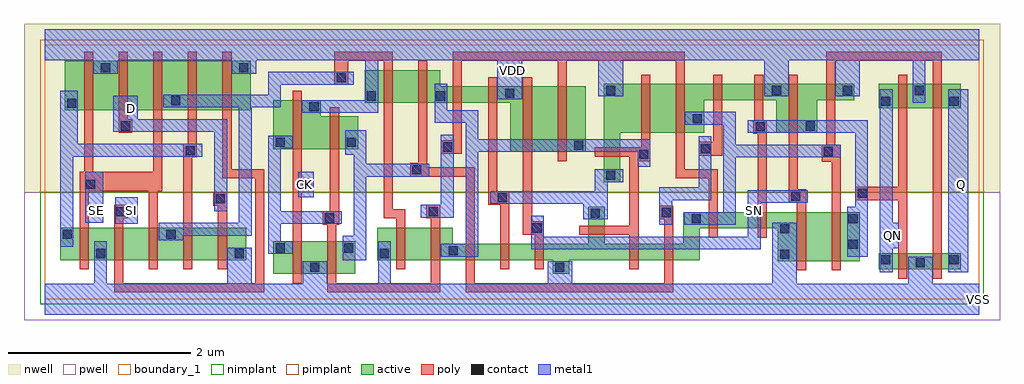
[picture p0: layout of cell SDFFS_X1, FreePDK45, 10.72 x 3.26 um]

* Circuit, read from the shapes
.subckt SDFFS_X1 CK D Q QN SE SI SN VDD VSS
M1 VSS SE n1 VSUBS nfet w=0.36u l=0.1u
M2 n2 SI VSS VSUBS nfet w=0.36u l=0.1u
M3 n3 SE n2 VSUBS nfet w=0.36u l=0.1u
M4 n4 n1 n3 VSUBS nfet w=0.36u l=0.1u
M5 VSS D n4 VSUBS nfet w=0.36u l=0.1u
M6 VSS CK n5 VSUBS nfet w=0.36u l=0.1u
M7 n6 n5 VSS VSUBS nfet w=0.36u l=0.1u
M8 n7 n3 VSS VSUBS nfet w=0.36u l=0.1u
M9 n8 n5 n7 VSUBS nfet w=0.36u l=0.1u
M10 n9 n6 n8 VSUBS nfet w=0.18u l=0.1u
M11 n10 n11 n9 VSUBS nfet w=0.18u l=0.1u
M12 VSS SN n10 VSUBS nfet w=0.18u l=0.1u
M13 n11 n8 VSS VSUBS nfet w=0.18u l=0.1u
M14 n12 n8 VSS VSUBS nfet w=0.18u l=0.1u
M15 n13 n6 n12 VSUBS nfet w=0.18u l=0.1u
M16 n14 n5 n13 VSUBS nfet w=0.18u l=0.1u
M17 VSS n15 n14 VSUBS nfet w=0.18u l=0.1u
M18 n16 SN VSS VSUBS nfet w=0.54u l=0.1u
M19 n15 n13 n16 VSUBS nfet w=0.54u l=0.1u
M20 VSS n15 QN VSUBS nfet w=0.18u l=0.1u
M21 Q n13 VSS VSUBS nfet w=0.18u l=0.1u
M22 VDD SE n1 n17 pfet w=0.54u l=0.1u
M23 n18 D VDD n17 pfet w=0.54u l=0.1u
M24 n3 SE n18 n17 pfet w=0.54u l=0.1u
M25 n19 n1 n3 n17 pfet w=0.54u l=0.1u
M26 VDD SI n19 n17 pfet w=0.54u l=0.1u
M27 VDD CK n5 n17 pfet w=0.54u l=0.1u
M28 n6 n5 VDD n17 pfet w=0.36u l=0.1u
M29 n20 n3 VDD n17 pfet w=0.36u l=0.1u
M30 n8 n6 n20 n17 pfet w=0.36u l=0.1u
M31 n21 n5 n8 n17 pfet w=0.18u l=0.1u
M32 VDD n11 n21 n17 pfet w=0.18u l=0.1u
M33 n22 SN VDD n17 pfet w=0.72u l=0.1u
M34 n8 n5 n22 n17 pfet w=0.72u l=0.1u
M35 VDD n8 n11 n17 pfet w=0.18u l=0.1u
M36 n23 n8 VDD n17 pfet w=0.54u l=0.1u
M37 n13 n5 n23 n17 pfet w=0.54u l=0.1u
M38 n24 n6 n13 n17 pfet w=0.18u l=0.1u
M39 VDD n15 n24 n17 pfet w=0.18u l=0.1u
M40 n15 SN VDD n17 pfet w=0.54u l=0.1u
M41 VDD n13 n15 n17 pfet w=0.18u l=0.1u
M42 VDD n15 QN n17 pfet w=0.27u l=0.1u
M43 Q n13 VDD n17 pfet w=0.27u l=0.1u
.ends

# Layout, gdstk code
import gdstk
lib = gdstk.Library(unit=1e-6, precision=1e-09)
def R(c, l, rs):  # rectangles x0, y0, x1, y1
    for r in rs: c.add(gdstk.rectangle(r[:2], r[2:], *l))
def P(c, l, *ps):  # polygons
    for p in ps: c.add(gdstk.Polygon(p, *l))
active = (1, 0)
pwell = (2, 0)
nwell = (3, 0)
nimplant = (4, 0)
pimplant = (5, 0)
poly = (9, 0)
contact = (10, 0)
metal1 = (11, 0)
boundary_1 = (235, 1)

sdffs_x1 = lib.new_cell('SDFFS_X1')
R(sdffs_x1, active, [(2.51,0.28,3.41,0.64), (9.16,0.33,10.06,0.51), (0.17,0.43,2.21,0.79), (0.22,2.08,2.26,2.62), (9.16,2.1,10.06,2.37)])
P(sdffs_x1, active, [(3.65,0.43),(5.58,0.43),(5.58,0.28),(5.76,0.28),(5.76,0.43),(7.19,0.43),(7.19,0.78),(8.05,0.78),(8.05,0.42),(8.95,0.42),(8.95,0.96),(7.01,0.96),(7.01,0.61),(6.15,0.61),(6.15,1.02),(5.97,1.02),(5.97,0.61),(4.48,0.61),(4.48,0.79),(3.65,0.79)],
  [(6.14,1.29),(6.32,1.29),(6.32,1.83),(7.24,1.83),(7.24,2.19),(8.03,2.19),(8.03,1.83),(8.48,1.83),(8.48,2.19),(8.89,2.19),(8.89,2.37),(6.14,2.37)],
  [(3.51,2.16),(5.11,2.16),(5.11,1.62),(5.94,1.62),(5.94,2.34),(4.34,2.34),(4.34,2.52),(3.51,2.52)],
  [(2.51,1.65),(3.44,1.65),(3.44,2.01),(3.03,2.01),(3.03,2.19),(2.51,2.19)])
R(sdffs_x1, pwell, [(-0.23,-0.23,10.49,1.18)])
R(sdffs_x1, nwell, [(-0.23,1.18,10.49,3.03)])
R(sdffs_x1, nimplant, [(-0.05,-0.05,10.31,1.18)])
R(sdffs_x1, pimplant, [(-0.05,1.18,10.31,2.85)])
P(sdffs_x1, poly, [(8.68,2.62),(9.75,2.62),(9.75,0.23),(9.85,0.23),(9.85,2.72),(8.58,2.72),(8.58,1.7),(8.53,1.7),(8.53,1.51),(8.64,1.51),(8.64,0.32),(8.74,0.32),(8.74,1.7),(8.68,1.7)],
  [(8.9,1.09),(9.37,1.09),(9.37,0.23),(9.47,0.23),(9.47,2.47),(9.37,2.47),(9.37,1.24),(8.9,1.24)],
  [(8.17,1.06),(8.26,1.06),(8.26,0.32),(8.36,0.32),(8.36,1.21),(8.27,1.21),(8.27,2.47),(8.17,2.47)],
  [(7.78,1.82),(7.83,1.82),(7.83,0.68),(7.93,0.68),(7.93,1.97),(7.89,1.97),(7.89,2.47),(7.79,2.47),(7.79,1.97),(7.78,1.97)],
  [(7.18,1.58),(7.44,1.58),(7.44,2.47),(7.34,2.47),(7.34,1.73),(7.18,1.73)],
  [(4.35,1.6),(4.58,1.6),(4.58,2.62),(5.63,2.62),(5.63,1.52),(5.73,1.52),(5.73,2.62),(6.93,2.62),(6.93,1.33),(7.29,1.33),(7.29,0.68),(7.39,0.68),(7.39,1.43),(7.03,1.43),(7.03,2.72),(4.48,2.72),(4.48,1.75),(4.35,1.75)],
  [(6.75,0.88),(6.8,0.88),(6.8,0.18),(4.72,0.18),(4.72,1.45),(4.2,1.45),(4.2,2.62),(4.1,2.62),(4.1,1.5),(4.01,1.5),(4.01,1.35),(4.62,1.35),(4.62,0.08),(6.9,0.08),(6.9,1.03),(6.75,1.03)],
  [(6.04,1.57),(6.42,1.57),(6.42,0.81),(5.87,0.81),(5.87,0.71),(6.42,0.71),(6.42,0.33),(6.52,0.33),(6.52,1.52),(6.65,1.52),(6.65,2.47),(6.55,2.47),(6.55,1.67),(6.04,1.67)],
  [(5.25,0.71),(5.38,0.71),(5.38,0.33),(5.48,0.33),(5.48,0.86),(5.35,0.86),(5.35,2.44),(5.25,2.44)],
  [(4.87,1.04),(5,1.04),(5,0.33),(5.1,0.33),(5.1,1.19),(4.97,1.19),(4.97,2.44),(4.87,2.44)],
  [(4.19,0.89),(4.24,0.89),(4.24,0.18),(3.2,0.18),(3.2,0.82),(3.23,0.82),(3.23,2.11),(3.13,2.11),(3.13,0.97),(3.05,0.97),(3.05,0.82),(3.1,0.82),(3.1,0.08),(4.34,0.08),(4.34,1.04),(4.19,1.04)],
  [(3.18,2.36),(3.33,2.36),(3.33,2.62),(3.72,2.62),(3.72,0.89),(3.86,0.89),(3.86,0.33),(3.96,0.33),(3.96,0.99),(3.82,0.99),(3.82,2.72),(3.18,2.72)],
  [(2.72,0.18),(2.82,0.18),(2.82,1.18),(2.95,1.18),(2.95,1.33),(2.82,1.33),(2.82,2.29),(2.72,2.29)],
  [(1.95,1.33),(2.31,1.33),(2.31,0.18),(0.86,0.18),(0.86,0.89),(0.91,0.89),(0.91,1.04),(0.76,1.04),(0.76,0.08),(2.41,0.08),(2.41,1.43),(2.05,1.43),(2.05,2.72),(1.95,2.72)],
  [(1.85,1.03),(1.9,1.03),(1.9,0.33),(2,0.33),(2,1.18),(1.85,1.18)],
  [(1.52,0.33),(1.62,0.33),(1.62,1.56),(1.67,1.56),(1.67,2.72),(1.57,2.72),(1.57,1.71),(1.52,1.71)],
  [(0.38,0.33),(0.48,0.33),(0.48,1.19),(1.14,1.19),(1.14,0.33),(1.24,0.33),(1.24,1.19),(1.29,1.19),(1.29,2.72),(1.19,2.72),(1.19,1.4),(0.53,1.4),(0.53,2.72),(0.43,2.72),(0.43,1.4),(0.38,1.4)],
  [(0.81,1.83),(0.96,1.83),(0.96,1.98),(0.91,1.98),(0.91,2.72),(0.81,2.72)])
R(sdffs_x1, contact, [(2.915,0.305,3.015,0.405), (5.605,0.305,5.705,0.405), (9.565,0.355,9.665,0.455), (9.185,0.385,9.285,0.485), (9.935,0.385,10.035,0.485), (8.075,0.445,8.175,0.545), (0.565,0.455,0.665,0.555), (2.085,0.455,2.185,0.555), (3.675,0.455,3.775,0.555), (4.435,0.485,4.535,0.585), (2.535,0.515,2.635,0.615), (3.285,0.515,3.385,0.615), (8.825,0.555,8.925,0.655), (0.195,0.665,0.295,0.765), (1.335,0.665,1.435,0.765), (8.075,0.725,8.175,0.825), (5.355,0.735,5.455,0.835), (7.105,0.835,7.205,0.935), (8.825,0.835,8.925,0.935), (3.075,0.845,3.175,0.945), (5.995,0.895,6.095,0.995), (6.775,0.905,6.875,1.005), (0.785,0.915,0.885,1.015), (4.215,0.915,4.315,1.015), (1.875,1.055,1.975,1.155), (4.975,1.065,5.075,1.165), (8.195,1.085,8.295,1.185), (8.925,1.115,9.025,1.215), (2.825,1.205,2.925,1.305), (0.455,1.215,0.555,1.315), (6.165,1.315,6.265,1.415), (4.035,1.375,4.135,1.475), (6.525,1.545,6.625,1.645), (8.555,1.575,8.655,1.675), (1.545,1.585,1.645,1.685), (7.205,1.605,7.305,1.705), (4.375,1.625,4.475,1.725), (5.815,1.645,5.915,1.745), (2.535,1.675,2.635,1.775), (3.315,1.675,3.415,1.775), (7.805,1.845,7.905,1.945), (0.835,1.855,0.935,1.955), (8.355,1.855,8.455,1.955), (7.115,1.935,7.215,2.035), (2.905,2.065,3.005,2.165), (0.245,2.105,0.345,2.205), (9.185,2.125,9.285,2.225), (9.935,2.125,10.035,2.225), (1.385,2.135,1.485,2.235), (3.535,2.185,3.635,2.285), (4.295,2.185,4.395,2.285), (5.055,2.215,5.155,2.315), (6.165,2.245,6.265,2.345), (7.985,2.245,8.085,2.345), (8.765,2.245,8.865,2.345), (9.555,2.245,9.655,2.345), (3.205,2.385,3.305,2.485), (0.615,2.495,0.715,2.595), (2.135,2.495,2.235,2.595)])
R(sdffs_x1, metal1, [(9.92,0.3,10.14,2.31), (9.92,0.3,10.14,2.31), (0.77,0.83,1.02,1.12), (0.77,0.83,1.02,1.12), (0.44,0.84,0.64,1.4), (0.44,0.84,0.64,1.4), (2.78,1.12,2.95,1.4), (2.78,1.12,2.95,1.4)])
P(sdffs_x1, metal1, [(0.75,1.84),(1.86,1.84),(1.86,0.97),(2,0.97),(2,1.98),(1.02,1.98),(1.02,2.24),(0.75,2.24)],
  [(0,-0.17),(10.26,-0.17),(10.26,0.17),(9.75,0.17),(9.75,0.47),(9.48,0.47),(9.48,0.17),(8.26,0.17),(8.26,0.84),(7.99,0.84),(7.99,0.17),(5.79,0.17),(5.79,0.42),(5.52,0.42),(5.52,0.17),(3.8,0.17),(3.8,0.64),(3.66,0.64),(3.66,0.17),(3.1,0.17),(3.1,0.42),(2.83,0.42),(2.83,0.17),(2.27,0.17),(2.27,0.57),(2,0.57),(2,0.17),(0.68,0.17),(0.68,0.64),(0.54,0.64),(0.54,0.17),(0,0.17)],
  [(0,2.63),(0.53,2.63),(0.53,2.48),(0.8,2.48),(0.8,2.63),(2.05,2.63),(2.05,2.48),(2.32,2.48),(2.32,2.63),(3.52,2.63),(3.52,2.19),(2.82,2.19),(2.82,2.05),(3.66,2.05),(3.66,2.63),(4.97,2.63),(4.97,2.2),(5.24,2.2),(5.24,2.63),(6.08,2.63),(6.08,2.23),(6.35,2.23),(6.35,2.63),(7.9,2.63),(7.9,2.23),(8.17,2.23),(8.17,2.63),(8.68,2.63),(8.68,2.23),(8.95,2.23),(8.95,2.63),(9.53,2.63),(9.53,2.16),(9.67,2.16),(9.67,2.63),(10.26,2.63),(10.26,2.97),(0,2.97)],
  [(5.34,0.55),(7.86,0.55),(7.86,1.06),(8.38,1.06),(8.38,1.2),(7.72,1.2),(7.72,0.69),(5.48,0.69),(5.48,0.92),(5.34,0.92)],
  [(9.17,0.3),(9.31,0.3),(9.31,0.56),(9.38,0.56),(9.38,0.84),(9.31,0.84),(9.31,2.31),(9.17,2.31)],
  [(0,2.63),(0.53,2.63),(0.53,2.48),(0.8,2.48),(0.8,2.63),(2.05,2.63),(2.05,2.48),(2.32,2.48),(2.32,2.63),(3.52,2.63),(3.52,2.19),(2.82,2.19),(2.82,2.05),(3.66,2.05),(3.66,2.63),(4.97,2.63),(4.97,2.2),(5.24,2.2),(5.24,2.63),(6.08,2.63),(6.08,2.23),(6.35,2.23),(6.35,2.63),(7.9,2.63),(7.9,2.23),(8.17,2.23),(8.17,2.63),(8.68,2.63),(8.68,2.23),(8.95,2.23),(8.95,2.63),(9.53,2.63),(9.53,2.16),(9.67,2.16),(9.67,2.63),(10.26,2.63),(10.26,2.97),(0,2.97)],
  [(0,-0.17),(10.26,-0.17),(10.26,0.17),(9.75,0.17),(9.75,0.47),(9.48,0.47),(9.48,0.17),(8.26,0.17),(8.26,0.84),(7.99,0.84),(7.99,0.17),(5.79,0.17),(5.79,0.42),(5.52,0.42),(5.52,0.17),(3.8,0.17),(3.8,0.64),(3.66,0.64),(3.66,0.17),(3.1,0.17),(3.1,0.42),(2.83,0.42),(2.83,0.17),(2.27,0.17),(2.27,0.57),(2,0.57),(2,0.17),(0.68,0.17),(0.68,0.64),(0.54,0.64),(0.54,0.17),(0,0.17)],
  [(9.17,0.3),(9.31,0.3),(9.31,0.56),(9.38,0.56),(9.38,0.84),(9.31,0.84),(9.31,2.31),(9.17,2.31)],
  [(7.72,1.83),(8.9,1.83),(8.9,1.02),(8.81,1.02),(8.81,0.47),(9.04,0.47),(9.04,1.97),(7.72,1.97)],
  [(7.03,1.92),(7.45,1.92),(7.45,0.96),(7.02,0.96),(7.02,0.82),(7.59,0.82),(7.59,1.56),(8.74,1.56),(8.74,1.7),(7.59,1.7),(7.59,2.06),(7.03,2.06)],
  [(5.34,0.55),(7.86,0.55),(7.86,1.06),(8.38,1.06),(8.38,1.2),(7.72,1.2),(7.72,0.69),(5.48,0.69),(5.48,0.92),(5.34,0.92)],
  [(6.75,0.82),(6.89,0.82),(6.89,1.09),(7.32,1.09),(7.32,1.79),(7.18,1.79),(7.18,1.23),(6.75,1.23)],
  [(4.28,1.94),(4.62,1.94),(4.62,0.61),(4.35,0.61),(4.35,0.47),(4.76,0.47),(4.76,1.62),(6.51,1.62),(6.51,1.46),(6.65,1.46),(6.65,1.76),(4.76,1.76),(4.76,2.08),(4.42,2.08),(4.42,2.37),(4.28,2.37)],
  [(4.89,1.05),(5.91,1.05),(5.91,0.88),(6.18,0.88),(6.18,1.29),(6.35,1.29),(6.35,1.43),(6.04,1.43),(6.04,1.19),(4.89,1.19)],
  [(4.13,0.9),(4.49,0.9),(4.49,1.81),(4.35,1.81),(4.35,1.04),(4.13,1.04)],
  [(3.3,1.59),(3.39,1.59),(3.39,0.7),(3.27,0.7),(3.27,0.43),(3.53,0.43),(3.53,1.35),(4.22,1.35),(4.22,1.49),(3.53,1.49),(3.53,1.86),(3.3,1.86)],
  [(1.3,2.11),(2.13,2.11),(2.13,0.84),(1.25,0.84),(1.25,0.65),(1.52,0.65),(1.52,0.7),(2.27,0.7),(2.27,2.11),(2.59,2.11),(2.59,2.36),(3.39,2.36),(3.39,2.5),(2.45,2.5),(2.45,2.25),(1.3,2.25)],
  [(2.59,0.83),(3.26,0.83),(3.26,0.97),(2.59,0.97),(2.59,1.66),(2.72,1.66),(2.72,1.8),(2.45,1.8),(2.45,0.5),(2.72,0.5),(2.72,0.64),(2.59,0.64)],
  [(0.75,1.84),(1.86,1.84),(1.86,0.97),(2,0.97),(2,1.98),(1.02,1.98),(1.02,2.24),(0.75,2.24)],
  [(0.17,0.58),(0.31,0.58),(0.31,1.57),(1.73,1.57),(1.73,1.71),(0.36,1.71),(0.36,2.29),(0.17,2.29)])
R(sdffs_x1, boundary_1, [(0,0,10.26,2.8)])
sdffs_x1.add(gdstk.Label('VSS', (10.25,0), layer=11, texttype=0))
sdffs_x1.add(gdstk.Label('VDD', (5.13,2.51), layer=11, texttype=0))
sdffs_x1.add(gdstk.Label('SN', (7.79,0.98), layer=11, texttype=0))
sdffs_x1.add(gdstk.Label('SI', (0.95,0.98), layer=11, texttype=0))
sdffs_x1.add(gdstk.Label('SE', (0.57,0.98), layer=11, texttype=0))
sdffs_x1.add(gdstk.Label('QN', (9.31,0.7), layer=11, texttype=0))
sdffs_x1.add(gdstk.Label('Q', (10.07,1.26), layer=11, texttype=0))
sdffs_x1.add(gdstk.Label('D', (0.95,2.1), layer=11, texttype=0))
sdffs_x1.add(gdstk.Label('CK', (2.85,1.26), layer=11, texttype=0))

lib.write_gds('SDFFS_X1.gds')
